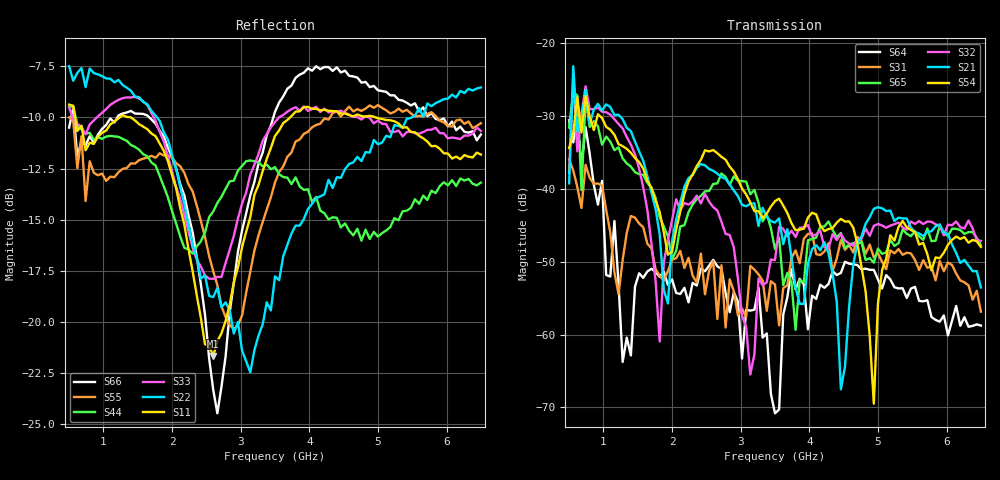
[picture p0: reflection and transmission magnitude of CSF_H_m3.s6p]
!Keysight Technologies,M9804A,MY58100912,A.14.10.03
!Date: Thursday, April 27, 2023 10:28:33
!Correction: S11(C  6-Port  )
!S12(C  6-Port  )
!S13(C  6-Port  )
!S14(C  6-Port  )
!S15(C  6-Port  )
!S16(C  6-Port  )
!S21(C  6-Port  )
!S22(C  6-Port  )
!S23(C  6-Port  )
!S24(C  6-Port  )
!S25(C  6-Port  )
!S26(C  6-Port  )
!S31(C  6-Port  )
!S32(C  6-Port  )
!S33(C  6-Port  )
!S34(C  6-Port  )
!S35(C  6-Port  )
!S36(C  6-Port  )
!S41(C  6-Port  )
!S42(C  6-Port  )
!S43(C  6-Port  )
!S44(C  6-Port  )
!S45(C  6-Port  )
!S46(C  6-Port  )
!S51(C  6-Port  )
!S52(C  6-Port  )
!S53(C  6-Port  )
!S54(C  6-Port  )
!S55(C  6-Port  )
!S56(C  6-Port  )
!S61(C  6-Port  )
!S62(C  6-Port  )
!S63(C  6-Port  )
!S64(C  6-Port  )
!S65(C  6-Port  )
!S66(C  6-Port  )
!S6P File: Measurement: :
# Hz S  RI  R 50
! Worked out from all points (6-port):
!   101 points, 500 MHz to 6.5 GHz, reference 50 ohm
!   strongest paths, dB at 500 MHz, 2 GHz, 3.5 GHz, 5 GHz, 6.5 GHz:
!     S54: -34.4, -48.6, -41.7, -55.8, -48.0
!     S21: -39.3, -47.2, -44.6, -42.5, -53.5
!     S32: -37.9, -44.3, -49.8, -44.8, -47.1
!     S65: -31.6, -49.6, -48.3, -48.2, -47.8
!     S31: -35.9, -49.7, -53.1, -48.8, -56.9
!     S64: -30.6, -52.4, -70.8, -52.4, -58.8
!   lowest |S11| = -21.7 dB at 2.6 GHz (marker M1), VSWR 1.18, Z = 42.6 + j2 ohm
!   |S11| at or under -10 dB: 587.9 MHz to 1.236 GHz (648.4 MHz wide, 71.1 % of centre); 1.402 GHz to 3.718 GHz (2.316 GHz wide, 90.4 % of centre); 4.97 GHz to end of sweep
